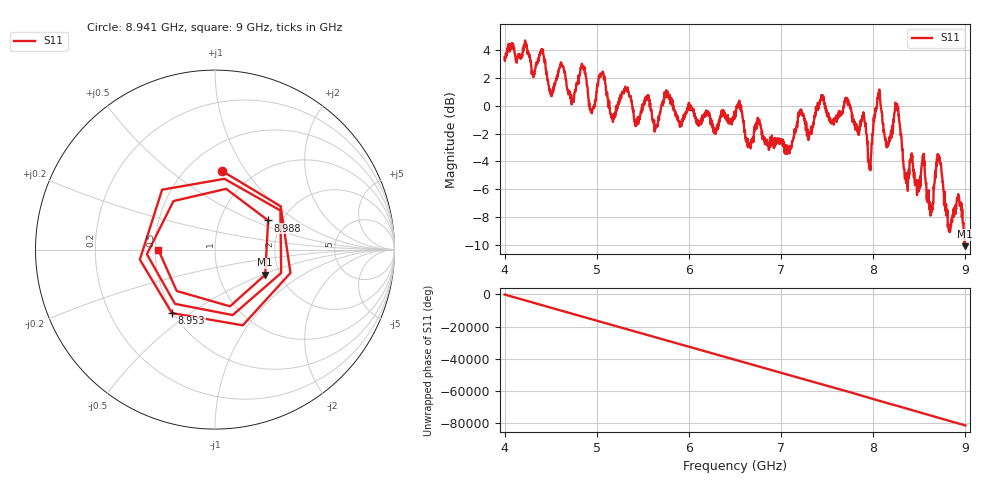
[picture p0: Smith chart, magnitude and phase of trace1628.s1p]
! Created with skrf 1.8.0 (http://scikit-rf.org).
# Hz S RI R 50.0
!freq ReS11 ImS11
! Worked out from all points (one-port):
!   1601 points, 4 GHz to 9 GHz, reference 50 ohm
!   lowest |S11| = -10.1 dB at 8.991 GHz (marker M1), VSWR 1.91, Z = 83.7 - j26 ohm
!   |S11| at or under -10 dB: 8.990567 GHz to 8.991746 GHz (1.179 MHz wide, 0.0131 % of centre); 8.996489 GHz to end of sweep
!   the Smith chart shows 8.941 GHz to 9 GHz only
!   S11 on the Smith chart (normalised r, x): 8.941 GHz: 0.72, +0.79; 8.953 GHz: 0.49, -0.43; 8.988 GHz: 1.70, +0.62; 9 GHz: 0.52, -0.00
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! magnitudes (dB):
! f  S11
! 4 GHz  3.5
! 4.403 GHz  3.9
! 4.509 GHz  0.7
! 4.625 GHz  2.9
! 4.731 GHz  0.5
! 4.85 GHz  2.8
! 4.947 GHz  -0.5
! 5.05 GHz  2.3
! 5.162 GHz  -0.6
! 5.25 GHz  0.3
! 5.875 GHz  -1.0
! 6.5 GHz  -0.4
! 7.125 GHz  -2.5
! 7.75 GHz  -0.2
! 7.962 GHz  -4.6
! 8.05 GHz  0.5
! 8.15 GHz  -3.0
! 8.253 GHz  -0.3
! 8.375 GHz  -6.1
! 8.544 GHz  -3.5
! 8.628 GHz  -7.6
! 8.709 GHz  -3.5
! 8.819 GHz  -9.0
! 8.941 GHz  -7.1
! 8.953 GHz  -7.4
! 8.988 GHz  -9.4
! 8.991 GHz  -10.1
! 9 GHz  -10.0
